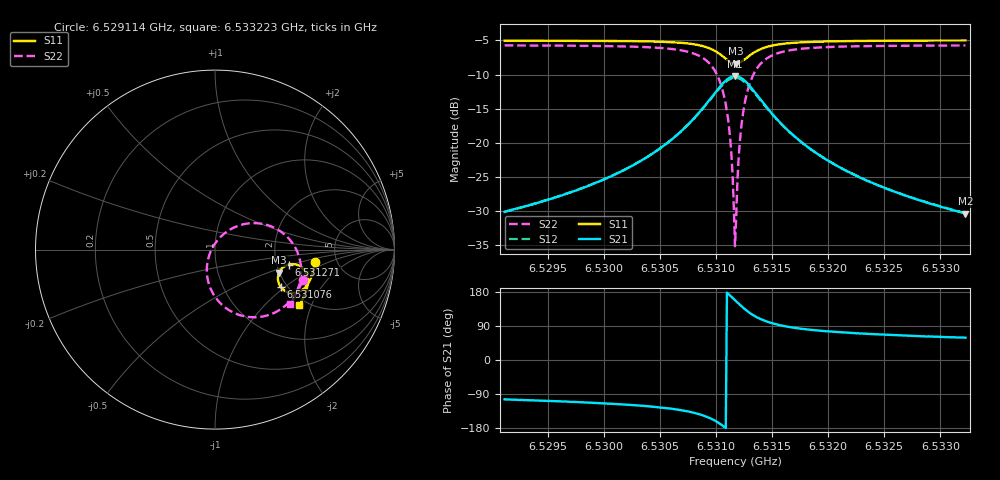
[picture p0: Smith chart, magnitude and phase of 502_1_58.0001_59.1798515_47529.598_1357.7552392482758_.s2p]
#  HZ  S  RI  R  50.00
! Rohde & Schwarz Vector Network Analyzer
! Rohde-Schwarz,ZNB20-2Port,1311601062101988,3.16
! Created: UTC 3/21/2024, 1:12:49 AM
! freq[Hz]  re:S11  im:S11  re:S21  im:S21  re:S12  im:S12  re:S22  im:S22
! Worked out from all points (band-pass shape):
!   401 points, 6.529114 GHz to 6.533223 GHz, reference 50 ohm
!   highest |S21| = -10.21 dB at 6.531169 GHz (marker M1); lowest = -30.4 dB at 6.533223 GHz (marker M2)
!   |S21| within 3 dB of the highest: 6.530965 GHz to 6.531375 GHz (410.5 kHz wide, 0.00628 % of centre)
!   lowest |S11| = -8.4 dB at 6.531179 GHz (marker M3), VSWR 2.22, Z = 99.5 - j30 ohm
!   |S11| at or under -10 dB: nowhere
!   |S22| runs from -35.1 to -5.7 dB; largest |S21 - S12| = 0.012
!   S11 on the Smith chart (normalised r, x): 6.529114 GHz: 3.41, -0.67; 6.531076 GHz: 1.85, -0.93; 6.531271 GHz: 2.33, -0.47; 6.533223 GHz: 1.82, -1.64
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6.5291142e9  0.5568 -0.0677  -0.00735 -0.0303  -0.00811 -0.0302  0.4881 -0.1716
6.5298025e9  0.5457 -0.1249  -0.0171 -0.0431  -0.0181 -0.0428  0.4569 -0.2354
6.5304907e9  0.5166 -0.193  -0.0513 -0.0739  -0.0533 -0.0725  0.375 -0.3257
6.530727e9  0.489 -0.2227  -0.0913 -0.093  -0.094 -0.09  0.2939 -0.3659
6.5309016e9  0.4449 -0.2411  -0.1596 -0.099  -0.1619 -0.0926  0.1674 -0.3725
6.5310044e9  0.4002 -0.2353  -0.2293 -0.0721  -0.2285 -0.0626  0.0491 -0.3166
6.5310763e9  0.3654 -0.2073  -0.2806 -0.013  -0.2747 -0.00324  -0.0283 -0.2089
6.5311174e9  0.3527 -0.1792  -0.2963 0.0403  -0.2872 0.0482  -0.0457 -0.1177
6.5311276e9  0.3512 -0.1709  -0.2971 0.0554  -0.2875 0.0623  -0.0448 -0.0929
6.5311584e9  0.352 -0.1455  -0.2911 0.1011  -0.2803 0.1055  -0.0274 -0.0183
6.5311687e9  0.3542 -0.137  -0.2862 0.1159  -0.2751 0.1195  -0.0167 0.00521
6.531179e9  0.3571 -0.1289  -0.2795 0.1305  -0.2685 0.1327  -0.00374 0.0277
6.5311893e9  0.361 -0.1212  -0.2716 0.1439  -0.2608 0.1454  0.0114 0.0487
6.5312098e9  0.3708 -0.1074  -0.2523 0.168  -0.2421 0.1677  0.0469 0.0853
6.5312201e9  0.3767 -0.1013  -0.2413 0.1783  -0.2316 0.1774  0.0667 0.1007
6.5312406e9  0.3896 -0.0917  -0.2174 0.1952  -0.2089 0.1929  0.1084 0.1244
6.5312714e9  0.4105 -0.0831  -0.1801 0.2106  -0.1735 0.2073  0.1726 0.1439
6.5313434e9  0.4538 -0.0836  -0.1042 0.2121  -0.1009 0.2088  0.3007 0.1338
6.5314461e9  0.4912 -0.1065  -0.0389 0.1803  -0.0373 0.1785  0.4069 0.0661
6.531857e9  0.5169 -0.1869  0.0165 0.0866  0.0175 0.0865  0.4801 -0.1278
6.5325452e9  0.4974 -0.2576  0.0182 0.0414  0.019 0.0412  0.4518 -0.245
6.5332232e9  0.4708 -0.3082  0.0157 0.026  0.0162 0.0258  0.4171 -0.3055
